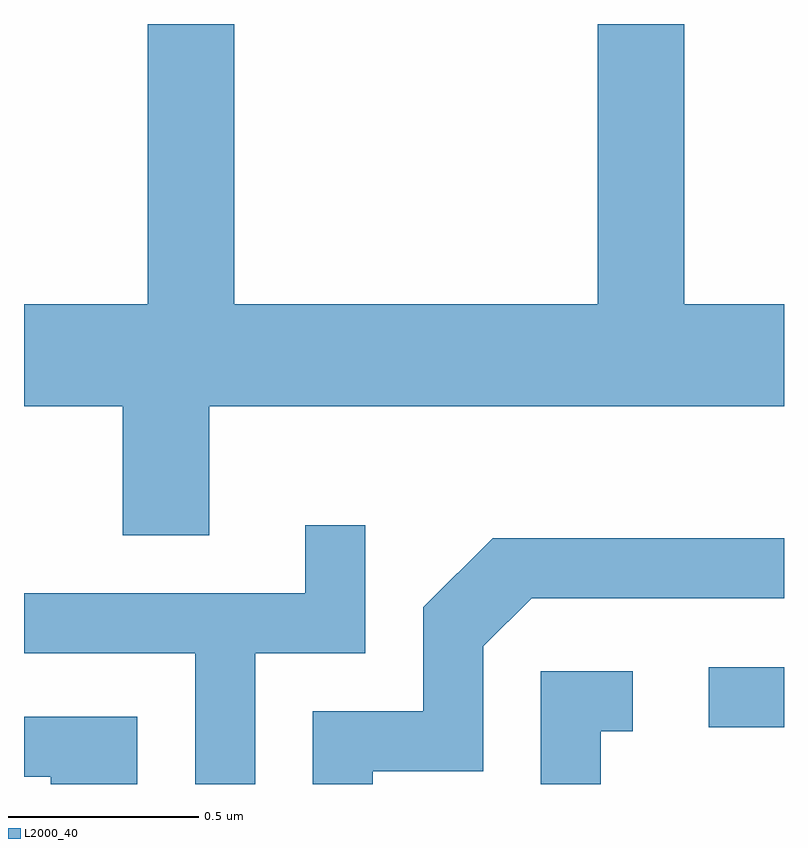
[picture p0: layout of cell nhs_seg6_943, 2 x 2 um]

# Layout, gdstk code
import gdstk
lib = gdstk.Library(unit=1e-6, precision=1e-09)
def R(c, l, rs):  # rectangles x0, y0, x1, y1
    for r in rs: c.add(gdstk.rectangle(r[:2], r[2:], *l))
def P(c, l, *ps):  # polygons
    for p in ps: c.add(gdstk.Polygon(p, *l))
L2000_40 = (2000, 40)

nhs_seg6_943 = lib.new_cell('nhs_seg6_943')
R(nhs_seg6_943, L2000_40, [(193.413,1651.311,193.611,1651.469)])
P(nhs_seg6_943, L2000_40, [(192.099,1652.156),(193.611,1652.156),(193.611,1652.424),(193.349,1652.424),(193.349,1653.162),(193.121,1653.162),(193.121,1652.424),(192.164,1652.424),(192.164,1653.162),(191.936,1653.162),(191.936,1652.424),(191.611,1652.424),(191.611,1652.156),(191.871,1652.156),(191.871,1651.816),(192.099,1651.816)],
  [(192.219,1651.506),(192.509,1651.506),(192.509,1651.843),(192.351,1651.843),(192.351,1651.664),(191.611,1651.664),(191.611,1651.506),(192.061,1651.506),(192.061,1651.162),(192.219,1651.162)],
  [(192.529,1651.196),(192.819,1651.196),(192.819,1651.524),(192.947,1651.651),(193.611,1651.651),(193.611,1651.809),(192.844,1651.809),(192.661,1651.627),(192.661,1651.354),(192.371,1651.354),(192.371,1651.162),(192.529,1651.162)],
  [(193.129,1651.301),(193.213,1651.301),(193.213,1651.459),(192.971,1651.459),(192.971,1651.162),(193.129,1651.162)],
  [(191.909,1651.339),(191.611,1651.339),(191.611,1651.181),(191.681,1651.181),(191.681,1651.162),(191.909,1651.162)])

lib.write_gds('nhs_seg6_943.gds')
